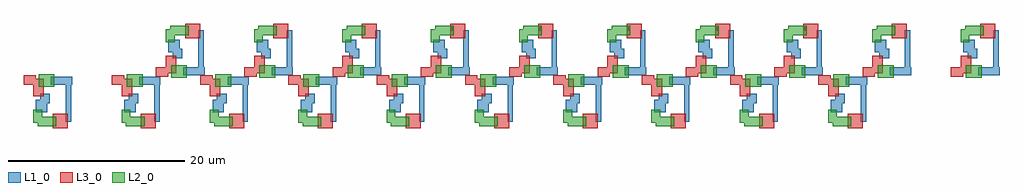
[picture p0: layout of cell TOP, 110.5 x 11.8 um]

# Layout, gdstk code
from math import pi, radians
import gdstk
lib = gdstk.Library(unit=1e-6, precision=1e-09)
def R(c, l, rs):  # rectangles x0, y0, x1, y1
    for r in rs: c.add(gdstk.rectangle(r[:2], r[2:], *l))
L1_0 = (1, 0)
L2_0 = (2, 0)
L3_0 = (3, 0)

c_c1 = lib.new_cell('C1')
R(c_c1, L1_0, [(-2.7,-3.3,-1.8,-0.9), (-2.1,-3.2,2.4,-2.6), (-0.8,-0.8,0.3,0.3), (-0.1,-0.5,1.3,0.8)])
R(c_c1, L2_0, [(1.8,-1.5,2.9,0.6), (-3,-1.3,-1.6,0.5), (1,0.1,2.5,1.1)])
R(c_c1, L3_0, [(1.5,-2.8,3.1,-1.1), (-2.5,-0.1,-0.5,1.1), (-2.9,0.8,-1.8,2.2)])

conn = lib.new_cell('CONN')
R(conn, L1_0, [(0,0,0.2,0.4)])

top = lib.new_cell('TOP')
r = gdstk.Reference(c_c1, (89.1,3.5), rotation=pi/2); r.repetition = gdstk.Repetition(1, 10, v1=(0,0), v2=(-10,0)); top.add(r)
r = gdstk.Reference(c_c1, (74.1,-2.1), rotation=3*pi/2, x_reflection=True); r.repetition = gdstk.Repetition(1, 10, v1=(0,0), v2=(-10,0)); top.add(r)
r = gdstk.Reference(conn, (30.3,5.8)); r.repetition = gdstk.Repetition(5, 1, v1=(10,0), v2=(0,0)); top.add(r)

lib.write_gds('TOP.gds')
